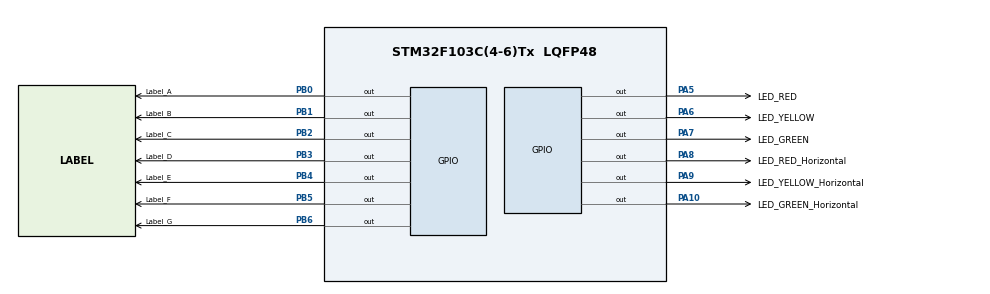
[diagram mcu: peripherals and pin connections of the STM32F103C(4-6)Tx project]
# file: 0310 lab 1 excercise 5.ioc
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Mcu.Family=STM32F1
Mcu.Name=STM32F103C(4-6)Tx
Mcu.Package=LQFP48
NVIC.PriorityGroup=NVIC_PRIORITYGROUP_4
NVIC.TIM2_IRQn=true\:0\:0\:false\:false\:true\:true\:true
PA10.GPIO_Label=LED_GREEN_Horizontal
PA10.Signal=GPIO_Output
PA13.Mode=Serial_Wire
PA13.Signal=SYS_JTMS-SWDIO
PA14.Mode=Serial_Wire
PA14.Signal=SYS_JTCK-SWCLK
PA5.GPIO_Label=LED_RED
PA5.GPIO_Speed=GPIO_SPEED_FREQ_HIGH
PA5.Signal=GPIO_Output
PA6.GPIO_Label=LED_YELLOW
PA6.GPIO_Speed=GPIO_SPEED_FREQ_HIGH
PA6.Signal=GPIO_Output
PA7.GPIO_Label=LED_GREEN
PA7.Signal=GPIO_Output
PA8.GPIO_Label=LED_RED_Horizontal
PA8.Signal=GPIO_Output
PA9.GPIO_Label=LED_YELLOW_Horizontal
PA9.Signal=GPIO_Output
PB0.GPIO_Label=Label_A
PB0.GPIO_Speed=GPIO_SPEED_FREQ_HIGH
PB0.Signal=GPIO_Output
PB1.GPIO_Label=Label_B
PB1.GPIO_Speed=GPIO_SPEED_FREQ_HIGH
PB1.Signal=GPIO_Output
PB2.GPIO_Label=Label_C
PB2.GPIO_Speed=GPIO_SPEED_FREQ_HIGH
PB2.Signal=GPIO_Output
PB3.GPIO_Label=Label_D
PB3.GPIO_Speed=GPIO_SPEED_FREQ_HIGH
PB3.Signal=GPIO_Output
PB4.GPIO_Label=Label_E
PB4.GPIO_Speed=GPIO_SPEED_FREQ_HIGH
PB4.Signal=GPIO_Output
PB5.GPIO_Label=Label_F
PB5.GPIO_Speed=GPIO_SPEED_FREQ_HIGH
PB5.Signal=GPIO_Output
PB6.GPIO_Label=Label_G
PB6.GPIO_Speed=GPIO_SPEED_FREQ_HIGH
PB6.Signal=GPIO_Output
ProjectManager.HeapSize=0x200
ProjectManager.StackSize=0x400
ProjectManager.TargetToolchain=STM32CubeIDE
RCC.APB1Freq_Value=8000000
RCC.APB2Freq_Value=8000000
TIM2.Period=9
TIM2.Prescaler=7999
VP_TIM2_VS_ClockSourceINT.Mode=Internal
board=custom

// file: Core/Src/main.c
/* USER CODE BEGIN Header */
// Trinh Tien Long, Student Login.
// MICROPROCESSORS-MICROCONTROLLERS (LAB) (CO3010) _ Mr. Nguyen
// Date: 30/10/2022
// Lab 1
/* USER CODE END Header */
#include "main.h"
#include "led7.h"

TIM_HandleTypeDef htim2;

void SystemClock_Config(void);
static void MX_GPIO_Init(void);
static void MX_TIM2_Init(void);
void vertical_GreenLightOn(void);
void vertical_GreenLightOff(void);
void vertical_YellowLightOn(void);
void vertical_YellowLightOff(void);
void horizontal_GreenLightOn(void);
void horizontal_GreenLightOff(void);
void horizontal_YellowLightOn(void);
void horizontal_YellowLightOff(void);
void StartTheLight();
/* USER CODE BEGIN PFP */
//#define
//#define
//#define
//#define
//#define
//#define
#define	RED_TIMING	5
#define YELLOW_TIMING	2
#define	GREEN_TIMING	3
static int32_t countVertical = GREEN_TIMING;//initial status: Vertical green light start
static int32_t RedCountDown=RED_TIMING;
/* USER CODE END PFP */

/* USER CODE BEGIN 0 */
void StartTheLight()
{
	//OFF everything
	HAL_GPIO_WritePin(LED_RED_Horizontal_GPIO_Port	, LED_RED_Horizontal_Pin, 0);
	HAL_GPIO_WritePin(LED_YELLOW_Horizontal_GPIO_Port, LED_YELLOW_Horizontal_Pin, 0);
	HAL_GPIO_WritePin(LED_GREEN_Horizontal_GPIO_Port, LED_GREEN_Horizontal_Pin, 0);
	HAL_GPIO_WritePin(LED_YELLOW_GPIO_Port, LED_YELLOW_Pin, 0);
	HAL_GPIO_WritePin(LED_RED_GPIO_Port, LED_RED_Pin, 0);
	HAL_GPIO_WritePin(LED_GREEN_GPIO_Port, LED_GREEN_Pin, 0);
}

// VERTICAL GREEN ON-OFF
void vertical_GreenLightOn()
{
	HAL_GPIO_WritePin(LED_RED_Horizontal_GPIO_Port	, LED_RED_Horizontal_Pin, 1);//Turn horizontal red light on
	HAL_GPIO_WritePin(LED_GREEN_GPIO_Port, LED_GREEN_Pin, 1);
	display7SEG(countVertical);
	HAL_Delay(1000);
	if(countVertical>=1)
	{
		countVertical--;
	}
}

void vertical_GreenLightOff()
{
	HAL_GPIO_WritePin(LED_GREEN_GPIO_Port, LED_GREEN_Pin, 0);
}

//VERTICAL YELLOW ON-OFF
void vertical_YellowLightOn()
{
	HAL_GPIO_WritePin(LED_RED_Horizontal_GPIO_Port	, LED_RED_Horizontal_Pin, 1);//Turn horizontal red light on
	HAL_GPIO_WritePin(LED_YELLOW_GPIO_Port, LED_YELLOW_Pin, 1);
	display7SEG(countVertical);
	HAL_Delay(1000);
	if(countVertical>=1)
	{
		countVertical--;
	}
}
void vertical_YellowLightOff()
{
	HAL_GPIO_WritePin(LED_RED_Horizontal_GPIO_Port	, LED_RED_Horizontal_Pin, 0);//Turn horizontal red light on
	HAL_GPIO_WritePin(LED_YELLOW_GPIO_Port, LED_YELLOW_Pin, 0);
}

//HORIZONTAL GREEN ON-OFF
void horizontal_GreenLightOn(void)
{
	HAL_GPIO_WritePin(LED_RED_GPIO_Port, LED_RED_Pin, 1);
	HAL_GPIO_WritePin(LED_GREEN_Horizontal_GPIO_Port, LED_GREEN_Horizontal_Pin, 1);
//	display7SEG(countVertical);
	HAL_Delay(1000);
	if(countVertical>=1)
	{
		countVertical--;
	}
}
void horizontal_GreenLightOff(void)
{
	HAL_GPIO_WritePin(LED_GREEN_Horizontal_GPIO_Port, LED_GREEN_Horizontal_Pin, 0);
}

//HORIZONTAL YELLOW ON-OFF
void horizontal_YellowLightOn(void)
{
	HAL_GPIO_WritePin(LED_RED_GPIO_Port	, LED_RED_Pin, 1);//Turn horizontal red light on
	HAL_GPIO_WritePin(LED_YELLOW_Horizontal_GPIO_Port, LED_YELLOW_Horizontal_Pin, 1);
//	display7SEG(countVertical);
	HAL_Delay(1000);
	if(countVertical>=1)
	{
		countVertical--;
	}
}
void horizontal_YellowLightOff(void)
{
	HAL_GPIO_WritePin(LED_RED_GPIO_Port	, LED_RED_Pin, 0);//Turn horizontal red light on
	HAL_GPIO_WritePin(LED_YELLOW_Horizontal_GPIO_Port, LED_YELLOW_Horizontal_Pin, 0);
}
/* USER CODE END 0 */

int main(void)
{

  /* MCU Configuration--------------------------------------------------------*/

  /* Reset of all peripherals, Initializes the Flash interface and the Systick. */
  HAL_Init();

  /* Configure the system clock */
  SystemClock_Config();

  /* Initialize all configured peripherals */
  MX_GPIO_Init();
  MX_TIM2_Init();
  /* USER CODE BEGIN 2 */
	StartTheLight();
  /* USER CODE END 2 */

  /* Infinite loop */
  /* USER CODE BEGIN WHILE */
  while (1)
  {
//vertical process - horizontal red always on
	  while(countVertical!=0)
	  {
		  vertical_GreenLightOn();
	  }
	  vertical_GreenLightOff();
	  countVertical=YELLOW_TIMING;

	  while(countVertical!=0)
	  {
		  vertical_YellowLightOn();
	  }
	  vertical_YellowLightOff();
	  countVertical=GREEN_TIMING;

//horizontal process - vertical red always on
	  while(countVertical!=0)
	  {
		  display7SEG(RedCountDown);//show count down number on vertical
		  horizontal_GreenLightOn();
		  if(RedCountDown >=1)
		  {
			  RedCountDown--;
		  }
	  }
	  horizontal_GreenLightOff();
	  countVertical=YELLOW_TIMING;

	  while(countVertical!=0)
	  {
		  display7SEG(RedCountDown);////show count down number on vertical
		  horizontal_YellowLightOn();
		  if(RedCountDown >=1)
		  {
			  RedCountDown--;
		  }
	  }
	  horizontal_YellowLightOff();
	  countVertical=GREEN_TIMING;
	  RedCountDown=RED_TIMING;
    /* USER CODE END WHILE */

  }
}

void SystemClock_Config(void)
{
  RCC_OscInitTypeDef RCC_OscInitStruct = {0};
  RCC_ClkInitTypeDef RCC_ClkInitStruct = {0};

  /** Initializes the RCC Oscillators according to the specified parameters
  * in the RCC_OscInitTypeDef structure.
  */
  RCC_OscInitStruct.OscillatorType = RCC_OSCILLATORTYPE_HSI;
  RCC_OscInitStruct.HSIState = RCC_HSI_ON;
  RCC_OscInitStruct.HSICalibrationValue = RCC_HSICALIBRATION_DEFAULT;
  RCC_OscInitStruct.PLL.PLLState = RCC_PLL_NONE;
  if (HAL_RCC_OscConfig(&RCC_OscInitStruct) != HAL_OK)
  {
    Error_Handler();
  }
  /** Initializes the CPU, AHB and APB buses clocks
  */
  RCC_ClkInitStruct.ClockType = RCC_CLOCKTYPE_HCLK|RCC_CLOCKTYPE_SYSCLK
                              |RCC_CLOCKTYPE_PCLK1|RCC_CLOCKTYPE_PCLK2;
  RCC_ClkInitStruct.SYSCLKSource = RCC_SYSCLKSOURCE_HSI;
  RCC_ClkInitStruct.AHBCLKDivider = RCC_SYSCLK_DIV1;
  RCC_ClkInitStruct.APB1CLKDivider = RCC_HCLK_DIV1;
  RCC_ClkInitStruct.APB2CLKDivider = RCC_HCLK_DIV1;

  if (HAL_RCC_ClockConfig(&RCC_ClkInitStruct, FLASH_LATENCY_0) != HAL_OK)
  {
    Error_Handler();
  }
}

static void MX_TIM2_Init(void)
{

  TIM_ClockConfigTypeDef sClockSourceConfig = {0};
  TIM_MasterConfigTypeDef sMasterConfig = {0};

  htim2.Instance = TIM2;
  htim2.Init.Prescaler = 7999;
  htim2.Init.CounterMode = TIM_COUNTERMODE_UP;
  htim2.Init.Period = 9;
  htim2.Init.ClockDivision = TIM_CLOCKDIVISION_DIV1;
  htim2.Init.AutoReloadPreload = TIM_AUTORELOAD_PRELOAD_DISABLE;
  if (HAL_TIM_Base_Init(&htim2) != HAL_OK)
  {
    Error_Handler();
  }
  sClockSourceConfig.ClockSource = TIM_CLOCKSOURCE_INTERNAL;
  if (HAL_TIM_ConfigClockSource(&htim2, &sClockSourceConfig) != HAL_OK)
  {
    Error_Handler();
  }
  sMasterConfig.MasterOutputTrigger = TIM_TRGO_RESET;
  sMasterConfig.MasterSlaveMode = TIM_MASTERSLAVEMODE_DISABLE;
  if (HAL_TIMEx_MasterConfigSynchronization(&htim2, &sMasterConfig) != HAL_OK)
  {
    Error_Handler();
  }

}

static void MX_GPIO_Init(void)
{
  GPIO_InitTypeDef GPIO_InitStruct = {0};

  /* GPIO Ports Clock Enable */
  __HAL_RCC_GPIOA_CLK_ENABLE();
  __HAL_RCC_GPIOB_CLK_ENABLE();

  /*Configure GPIO pin Output Level */
  HAL_GPIO_WritePin(GPIOA, LED_RED_Pin|LED_YELLOW_Pin|LED_GREEN_Pin|LED_RED_Horizontal_Pin
                          |LED_YELLOW_Horizontal_Pin|LED_GREEN_Horizontal_Pin, GPIO_PIN_RESET);

  /*Configure GPIO pin Output Level */
  HAL_GPIO_WritePin(GPIOB, Label_A_Pin|Label_B_Pin|Label_C_Pin|Label_D_Pin
                          |Label_E_Pin|Label_F_Pin|Label_G_Pin, GPIO_PIN_RESET);

  /*Configure GPIO pins : LED_RED_Pin LED_YELLOW_Pin */
  GPIO_InitStruct.Pin = LED_RED_Pin|LED_YELLOW_Pin;
  GPIO_InitStruct.Mode = GPIO_MODE_OUTPUT_PP;
  GPIO_InitStruct.Pull = GPIO_NOPULL;
  GPIO_InitStruct.Speed = GPIO_SPEED_FREQ_HIGH;
  HAL_GPIO_Init(GPIOA, &GPIO_InitStruct);

  /*Configure GPIO pins : LED_GREEN_Pin LED_RED_Horizontal_Pin LED_YELLOW_Horizontal_Pin LED_GREEN_Horizontal_Pin */
  GPIO_InitStruct.Pin = LED_GREEN_Pin|LED_RED_Horizontal_Pin|LED_YELLOW_Horizontal_Pin|LED_GREEN_Horizontal_Pin;
  GPIO_InitStruct.Mode = GPIO_MODE_OUTPUT_PP;
  GPIO_InitStruct.Pull = GPIO_NOPULL;
  GPIO_InitStruct.Speed = GPIO_SPEED_FREQ_LOW;
  HAL_GPIO_Init(GPIOA, &GPIO_InitStruct);

  /*Configure GPIO pins : Label_A_Pin Label_B_Pin Label_C_Pin Label_D_Pin
                           Label_E_Pin Label_F_Pin Label_G_Pin */
  GPIO_InitStruct.Pin = Label_A_Pin|Label_B_Pin|Label_C_Pin|Label_D_Pin
                          |Label_E_Pin|Label_F_Pin|Label_G_Pin;
  GPIO_InitStruct.Mode = GPIO_MODE_OUTPUT_PP;
  GPIO_InitStruct.Pull = GPIO_NOPULL;
  GPIO_InitStruct.Speed = GPIO_SPEED_FREQ_HIGH;
  HAL_GPIO_Init(GPIOB, &GPIO_InitStruct);

}

void Error_Handler(void)
{
  __disable_irq();
  while (1)
  {
  }
}

/************************ (C) COPYRIGHT STMicroelectronics *****END OF FILE****/
